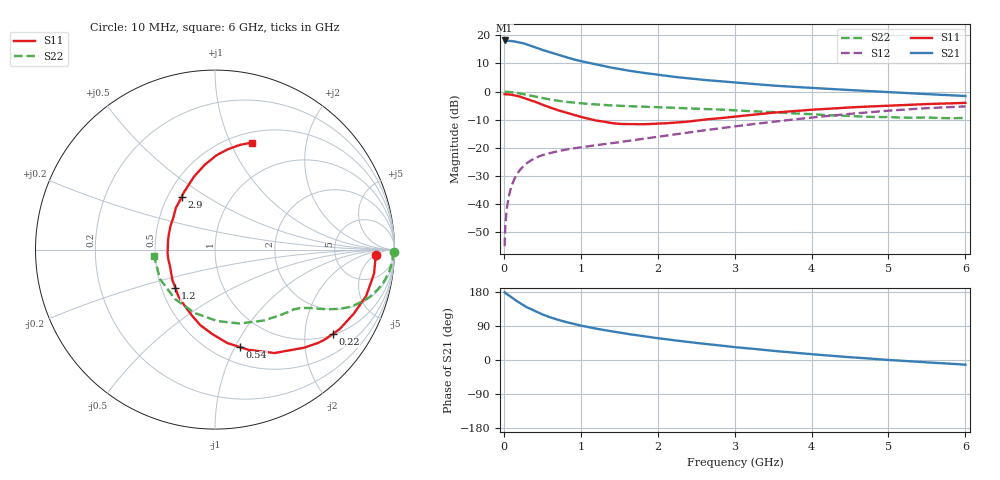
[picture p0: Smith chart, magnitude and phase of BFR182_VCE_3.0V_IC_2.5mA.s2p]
! Infineon Technologies  Discrete & RF Semiconductors
! BFR182
! VCE =  3.0 V,  IC =  2.5 mA
! Common Emitter S-Parameters:  Nov 2015
# GHz  S  MA  R  50
!  f  S11  S21  S12  S22
! GHz  MAG  ANG  MAG  ANG  MAG  ANG  MAG  ANG
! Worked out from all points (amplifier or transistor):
!   210 points, 10 MHz to 6 GHz, reference 50 ohm
!   highest |S21| = 18.2 dB at 10 MHz (marker M1)
!   |S21| within 3 dB of that: start of sweep to 462.2 MHz
!   unconditionally stable (mu >= 1): 1.361 GHz to 3.049 GHz
!   at 185 MHz: K = 0.21, MSG = 23.1 dB, |S12| = -28.8 dB
!   at 1.52 GHz: K = 1.04, MAG = 11.7 dB, |S12| = -17.9 dB
!   at 6 GHz: K = 0.89, MSG = 1.8 dB, |S12| = -5.2 dB
!   S11 on the Smith chart (normalised r, x): 10 MHz: 17, -5; 220 MHz: 1.02, -2.77; 540 MHz: 0.66, -1.05; 1.2 GHz: 0.59, -0.28; 2.9 GHz: 0.59, +0.39; 6 GHz: 0.61, +1.21
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0.01  0.8991 -1.8  8.102 178.7  0.0018 94.2  0.9963 -0.7
0.025  0.895 -4.3  8.027 176.2  0.0053 89.7  0.9899 -2.0
0.065  0.8895 -11.1  7.98 170.6  0.0137 84.2  0.9869 -4.8
0.1  0.8809 -17.1  7.95 165.7  0.0209 81.0  0.9781 -7.3
0.15  0.8509 -25.0  7.712 157.9  0.0305 75.6  0.9568 -11.0
0.22  0.8069 -35.7  7.362 149.0  0.0422 70.3  0.9219 -14.9
0.26  0.7764 -41.9  7.17 143.8  0.0482 67.5  0.8994 -17.2
0.3  0.7393 -47.6  6.894 139.0  0.0536 65.3  0.8751 -19.1
0.4  0.6655 -60.0  6.167 129.7  0.0657 60.1  0.8212 -22.8
0.5  0.5883 -71.6  5.504 120.3  0.0744 56.6  0.7697 -25.4
0.54  0.5605 -75.7  5.302 117.5  0.0771 55.6  0.7512 -26.1
0.7  0.4684 -92.3  4.559 106.3  0.0872 52.6  0.6876 -28.8
0.8  0.4289 -101.0  4.125 100.6  0.093 51.6  0.6601 -29.8
1.02  0.3511 -119.9  3.438 90.2  0.1034 51.2  0.6175 -31.8
1.2  0.3067 -135.9  3.034 82.7  0.1117 51.9  0.5911 -33.4
1.6  0.2657 -168.3  2.382 69.0  0.1325 54.3  0.5528 -36.9
2.02  0.2702 162.5  1.977 57.1  0.1591 56.1  0.5283 -42.0
2.9  0.3476 122.4  1.49 36.3  0.2316 56.0  0.4733 -57.0
3.1  0.3711 116.3  1.412 32.1  0.2508 55.0  0.4576 -61.4
4.1  0.4855 95.1  1.144 13.7  0.3573 47.0  0.3893 -91.8
5.1  0.5711 81.3  0.964 -1.1  0.4681 34.6  0.3484 -133.4
6  0.6313 70.8  0.836 -12.3  0.5466 20.6  0.3413 -173.8
